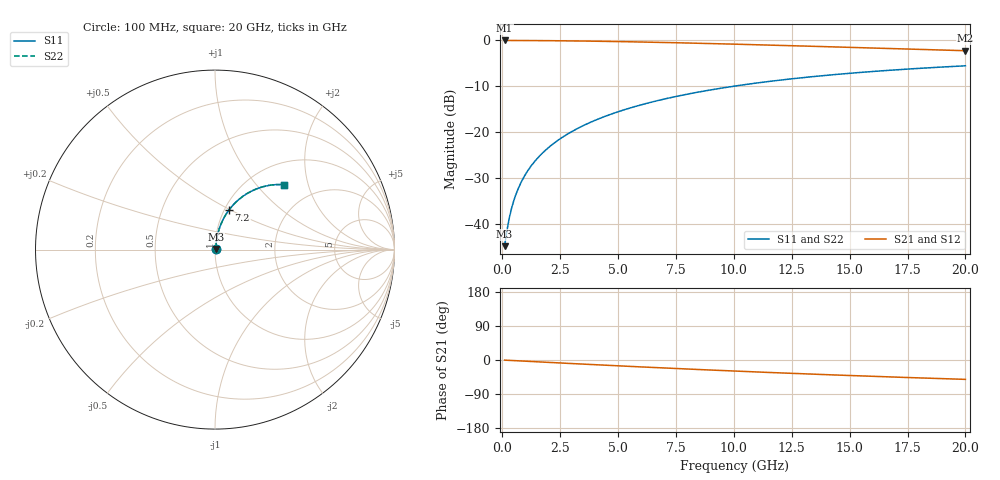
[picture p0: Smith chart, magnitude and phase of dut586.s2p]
! Touchstone file exported from HFSS 2024.1.0
!  File:  C:/UserFiles/LocalFiles/RDL_TSV_Batchsim/temp_RDL_top_586_1779682282.aedt
!  Generated:  12:13:44 PM May 25, 2026
!  Design:  RDL_top
!  Project:  temp_RDL_top_586_1779682282
!  Setup:  Setup1
!  Solution:  Sweep
! Variables:
!  dtsv = 10.80580581um
!  hbump = 3um
!  htsv = 91.41um
!  ldown = 100um
!  lrdl = 675.63um
!  p = 40
!  p1 = 55.76um
!  rhole = 1um
!  t = 450um
!  tdown = 3.915915916um
!  trdl = 3.92um
!  wdown = 15.38538539um
!  wrdl = 13.94um
# GHz S MA R 50.000000
! Terminal data exported
! Port[1] = Box2_T1
! Port[2] = Box2_T2
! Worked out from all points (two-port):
!   200 points, 100 MHz to 20 GHz, reference 50 ohm
!   highest |S21| = -0.04 dB at 100 MHz (marker M1); lowest = -2.3 dB at 20 GHz (marker M2)
!   |S21| within 3 dB of the highest: start of sweep to end of sweep
!   lowest |S11| = -44.9 dB at 100 MHz (marker M3), VSWR 1.01, Z = 50.4 + j0.354 ohm
!   |S11| at or under -10 dB: start of sweep to 10.03 GHz
!   |S22| runs from -44.9 to -5.6 dB; largest |S21 - S12| = 7.3e-15
!   S11 on the Smith chart (normalised r, x): 100 MHz: 1.01, +0.01; 7.2 GHz: 1.05, +0.49; 20 GHz: 1.41, +1.41
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0.1  0.005665 38.2  0.9956 -0.3  0.9956 -0.3  0.005665 38.2
! Gamma 0 0 0 0
! Port Impedance 50 0 50 0
0.2  0.008344 56.7  0.9954 -0.6  0.9954 -0.6  0.008344 56.7
0.3  0.01144 65.4  0.9953 -1.0  0.9953 -1.0  0.01144 65.4
0.4  0.01465 70.2  0.9951 -1.3  0.9951 -1.3  0.01465 70.2
0.5  0.0179 73.2  0.9949 -1.6  0.9949 -1.6  0.0179 73.2
0.6  0.02117 75.2  0.9947 -1.9  0.9947 -1.9  0.02117 75.2
0.8  0.02775 77.6  0.9943 -2.5  0.9943 -2.5  0.02775 77.6
1.1  0.03768 79.5  0.9935 -3.5  0.9935 -3.5  0.03768 79.5
1.5  0.05098 80.4  0.9923 -4.7  0.9923 -4.7  0.05098 80.4
1.8  0.06097 80.6  0.9911 -5.7  0.9911 -5.7  0.06097 80.6
2.1  0.07095 80.5  0.9897 -6.6  0.9897 -6.6  0.07095 80.5
2.7  0.09087 79.8  0.9865 -8.5  0.9865 -8.5  0.09087 79.8
3.5  0.1173 78.5  0.9811 -10.9  0.9811 -10.9  0.1173 78.5
4.2  0.1401 77.2  0.9755 -13.0  0.9755 -13.0  0.1401 77.2
5  0.1659 75.5  0.9681 -15.4  0.9681 -15.4  0.1659 75.5
6.8  0.2224 71.4  0.9487 -20.5  0.9487 -20.5  0.2224 71.4
7.2  0.2346 70.5  0.9439 -21.6  0.9439 -21.6  0.2346 70.5
8.6  0.276 67.3  0.9263 -25.4  0.9263 -25.4  0.276 67.3
10.1  0.3181 63.8  0.9062 -29.3  0.9062 -29.3  0.318 63.8
13.4  0.401 56.5  0.8598 -37.3  0.8598 -37.3  0.401 56.4
16.7  0.4702 49.6  0.8134 -44.6  0.8134 -44.6  0.4702 49.6
20  0.5264 43.4  0.7694 -51.1  0.7694 -51.1  0.5263 43.4
